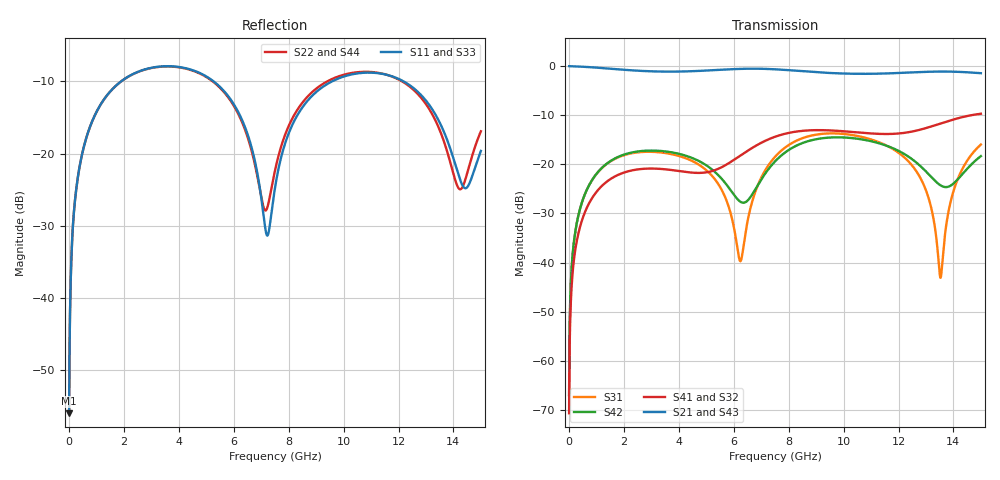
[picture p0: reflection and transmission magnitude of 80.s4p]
! Created with skrf 1.8.0 (http://scikit-rf.org).
# GHz S RI R 50.0
!freq ReS11 ImS11 ReS12 ImS12 ReS13 ImS13
! ReS14 ImS14
! ReS21 ImS21 ReS22 ImS22 ReS23 ImS23
! ReS24 ImS24
! ReS31 ImS31 ReS32 ImS32 ReS33 ImS33
! ReS34 ImS34
! ReS41 ImS41 ReS42 ImS42 ReS43 ImS43
! ReS44 ImS44
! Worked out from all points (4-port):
!   2499 points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, 5 MHz to 15 GHz, reference 50 ohm
!   strongest paths, dB at 5 MHz, 3.476 GHz, 7.19 GHz, 11.1 GHz, 15 GHz:
!     S21: 0.0, -1.1, -0.6, -1.6, -1.4
!     S43: 0.0, -1.1, -0.6, -1.6, -1.4
!     S41: -70.7, -21.0, -15.1, -13.7, -9.7
!     S32: -70.7, -21.0, -15.1, -13.8, -9.7
!     S42: -67.0, -17.3, -21.5, -15.4, -18.3
!     S31: -67.0, -17.7, -20.8, -15.1, -16.0
!   lowest |S11| = -56.0 dB at 5 MHz (marker M1), VSWR 1.00, Z = 50.1 + j0.0966 ohm
!   |S11| at or under -10 dB: start of sweep to 1.897 GHz; 5.267 GHz to 9.578 GHz (4.311 GHz wide, 58.1 % of centre); 12.18 GHz to end of sweep
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0.005  0.00126 0.000963  0.9987 -0.00245  6.01e-05 0.000443  -5.88e-05 -0.000286
       0.9987 -0.00245  0.00126 0.000963  -5.88e-05 -0.000286  6.02e-05 0.000443
       6.01e-05 0.000443  -5.88e-05 -0.000286  0.00126 0.000963  0.9987 -0.00245
       -5.88e-05 -0.000286  6.02e-05 0.000443  0.9987 -0.00245  0.00126 0.000963
0.4126719  0.0233 0.083  0.9679 -0.2001  0.00973 0.0347  -0.00837 -0.0221
           0.9679 -0.2001  0.0233 0.083  -0.00837 -0.0221  0.0102 0.0346
           0.00973 0.0347  -0.00837 -0.0221  0.0233 0.083  0.9679 -0.2001
           -0.00837 -0.0221  0.0102 0.0346  0.9679 -0.2001  0.0232 0.083
1.925802  0.2572 0.1891  0.583 -0.7128  0.1059 0.0601  -0.0802 -0.0116
          0.583 -0.7128  0.2558 0.1899  -0.0801 -0.0117  0.1111 0.0536
          0.1059 0.0601  -0.0801 -0.0117  0.2573 0.1891  0.583 -0.7127
          -0.0802 -0.0116  0.1111 0.0536  0.583 -0.7127  0.2557 0.19
7.134223  0.0263 -0.0175  -0.9355 -0.0631  0.027 0.0815  -0.00701 0.1727
          -0.9355 -0.0631  0.04 -0.00636  -0.00946 0.1725  -0.0271 0.0749
          0.027 0.0815  -0.00946 0.1725  0.0268 -0.0181  -0.9354 -0.0635
          -0.00701 0.1727  -0.0271 0.0749  -0.9354 -0.0635  0.0397 -0.00736
11.72363  0.3285 -0.1046  0.2196 0.8162  0.111 -0.0965  0.1731 -0.1078
          0.2196 0.8162  0.3231 -0.1177  0.1745 -0.1013  0.1011 -0.1091
          0.111 -0.0965  0.1745 -0.1013  0.3278 -0.1086  0.22 0.8163
          0.1731 -0.1078  0.1011 -0.1091  0.22 0.8163  0.3227 -0.1136
13.53064  0.1031 -0.1217  0.7652 0.4352  0.00699 6.59e-05  0.117 -0.2327
          0.7652 0.4352  0.0909 -0.1073  0.1253 -0.2282  -0.0535 -0.0295
          0.00699 6.59e-05  0.1253 -0.2282  0.0996 -0.124  0.7654 0.4348
          0.117 -0.2327  -0.0535 -0.0295  0.7654 0.4348  0.0949 -0.1052
15  0.0816 0.065  0.8365 -0.1333  0.1184 0.1063  -0.0809 -0.3173
    0.8365 -0.1333  0.1019 0.0998  -0.0705 -0.3196  0.0202 0.1195
    0.1184 0.1063  -0.0705 -0.3196  0.0798 0.0653  0.8366 -0.1336
    -0.0809 -0.3173  0.0202 0.1195  0.8366 -0.1336  0.1043 0.0967
